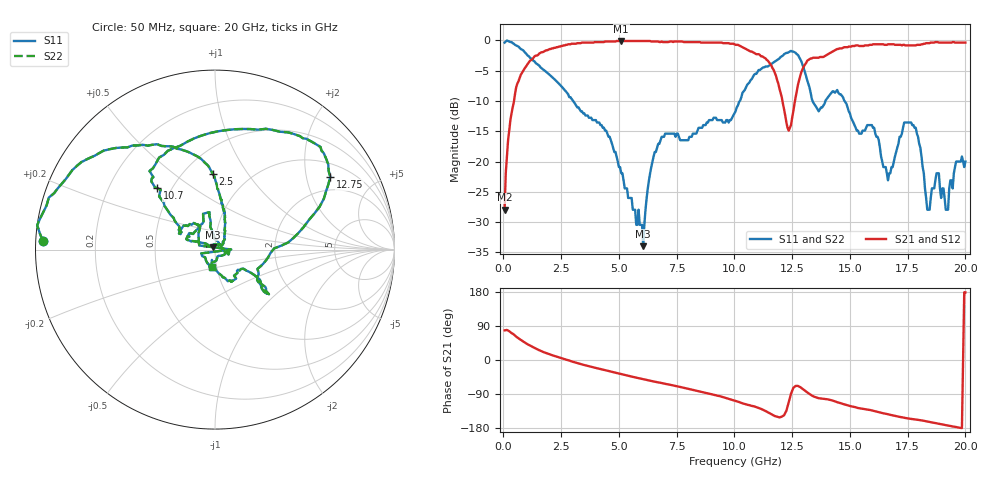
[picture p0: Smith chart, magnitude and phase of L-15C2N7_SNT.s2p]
# MHZ S MA R 50
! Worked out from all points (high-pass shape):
!   400 points, 50 MHz to 20 GHz, reference 50 ohm
!   highest |S21| = -0.09 dB at 5.1 GHz (marker M1); lowest = -28.0 dB at 50 MHz (marker M2)
!   |S21| within 3 dB of the highest: 1.252 GHz to 11.37 GHz (10.12 GHz wide, 160 % of centre); 13.25 GHz to end of sweep
!   lowest |S11| = -34.0 dB at 6.05 GHz (marker M3), VSWR 1.04, Z = 48.6 + j1.4 ohm
!   |S11| at or under -10 dB: 3.019 GHz to 10.23 GHz (7.213 GHz wide, 109 % of centre); 13.38 GHz to 13.94 GHz (556.7 MHz wide, 4.07 % of centre); 14.77 GHz to end of sweep
!   |S22| runs from -34.0 to 0.0 dB; largest |S21 - S12| = 0
!   S11 on the Smith chart (normalised r, x): 50 MHz: 0.02, +0.02; 2.5 GHz: 0.69, +0.70; 10.7 GHz: 0.42, +0.37; 12.75 GHz: 1.44, +2.77; 20 GHz: 0.95, -0.19
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50  0.96 177.2  0.04 78.2  0.04 78.2  0.96 177.2
200  0.99 170.0  0.15 77.7  0.15 77.7  0.99 170.0
600  0.9 148.8  0.44 59.4  0.44 59.4  0.9 148.8
2500  0.42 91.4  0.9 5.0  0.9 5.0  0.42 91.4
3400  0.26 81.1  0.96 -11.7  0.96 -11.7  0.26 81.1
5100  0.08 49.8  0.99 -37.3  0.99 -37.3  0.08 49.8
6050  0.02 134.1  0.99 -50.8  0.99 -50.8  0.02 134.1
6700  0.14 159.9  0.98 -59.1  0.98 -59.1  0.14 159.9
10050  0.26 145.6  0.92 -108.2  0.92 -108.2  0.26 145.6
10700  0.47 133.2  0.81 -120.2  0.81 -120.2  0.47 133.2
12350  0.8 50.5  0.18 -112.0  0.18 -112.0  0.8 50.5
12750  0.76 32.3  0.43 -68.4  0.43 -68.4  0.76 32.3
13350  0.33 1.2  0.71 -93.7  0.71 -93.7  0.33 1.2
16700  0.08 -152.8  0.93 -144.0  0.93 -144.0  0.08 -152.8
17650  0.21 98.4  0.91 -155.5  0.91 -155.5  0.21 98.4
18350  0.04 52.8  0.95 -162.2  0.95 -162.2  0.04 52.8
18750  0.08 -7.2  0.97 -167.1  0.97 -167.1  0.08 -7.2
19250  0.04 -69.4  0.96 -173.1  0.96 -173.1  0.04 -69.4
19850  0.11 -103.5  0.96 -179.7  0.96 -179.7  0.11 -103.5
19900  0.1 -102.0  0.96 -0.5  0.96 -0.5  0.1 -102.0
19950  0.09 -100.5  0.96 178.8  0.96 178.8  0.09 -100.5
20000  0.1 -99.8  0.96 178.5  0.96 178.5  0.1 -99.8
